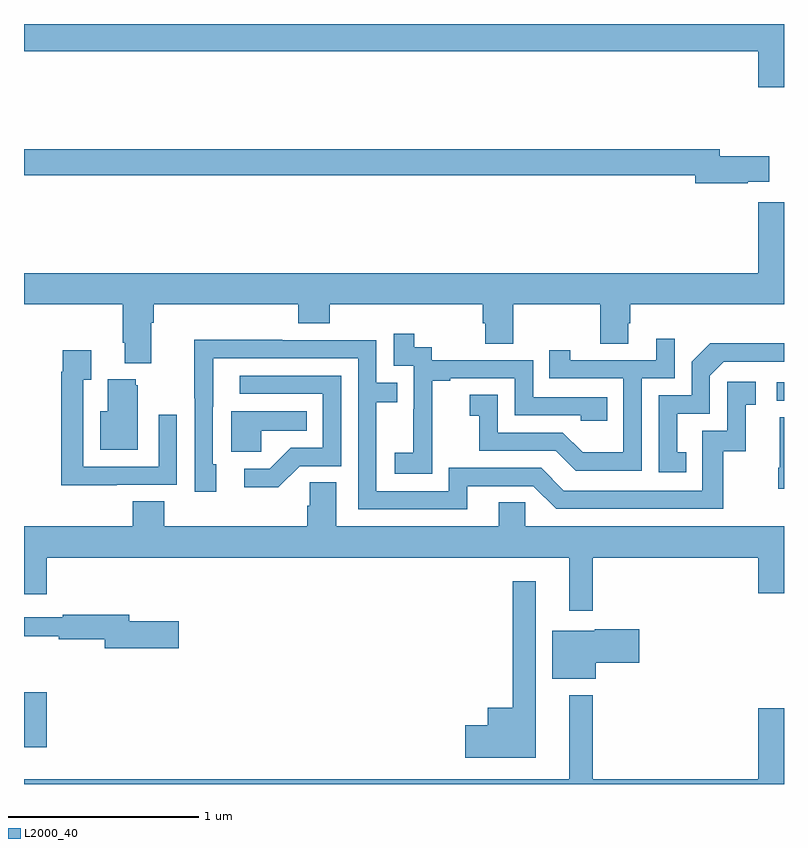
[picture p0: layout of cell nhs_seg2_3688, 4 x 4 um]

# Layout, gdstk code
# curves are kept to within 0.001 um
import gdstk
lib = gdstk.Library(unit=1e-6, precision=1e-09)
def R(c, l, rs):  # rectangles x0, y0, x1, y1
    for r in rs: c.add(gdstk.rectangle(r[:2], r[2:], *l))
def P(c, l, *ps):  # polygons
    for p in ps: c.add(gdstk.Polygon(p, *l))
L2000_40 = (2000, 40)

nhs_seg2_3688 = lib.new_cell('nhs_seg2_3688')
R(nhs_seg2_3688, L2000_40, [(305,623.994,305.12,624.283), (308.961,625.818,309,625.914)])
P(nhs_seg2_3688, L2000_40, [(309,627.8),(305,627.8),(305,627.656),(308.864,627.656),(308.864,627.468),(309,627.468)],
  [(308.81,626.969),(308.923,626.969),(308.923,627.104),(308.662,627.104),(308.662,627.14),(305,627.14),(305,627.004),(308.534,627.004),(308.534,626.962),(308.81,626.962)],
  [(305.671,626.228),(305.684,626.228),(305.684,626.324),(306.443,626.324),(306.443,626.225),(306.608,626.225),(306.608,626.324),(307.415,626.324),(307.415,626.226),(307.427,626.226),(307.427,626.116),(307.575,626.116),(307.575,626.324),(308.032,626.324),(308.032,626.116),(308.179,626.116),(308.179,626.226),(308.192,626.226),(308.192,626.324),(309,626.324),(309,626.863),(308.864,626.863),(308.864,626.488),(305,626.488),(305,626.324),(305.519,626.324),(305.519,626.122),(305.531,626.122),(305.531,626.015),(305.671,626.015)],
  [(307.149,625.639),(307.148,625.639),(307.148,625.923),(307.243,625.923),(307.243,625.935),(307.584,625.935),(307.584,625.74),(307.929,625.74),(307.929,625.713),(308.069,625.713),(308.069,625.836),(307.68,625.836),(307.68,626.031),(307.146,626.031),(307.146,626.1),(307.054,626.1),(307.054,626.17),(306.945,626.17),(306.945,626.001),(307.05,626.001),(307.05,625.772),(307.049,625.772),(307.049,625.543),(306.951,625.543),(306.951,625.433),(307.149,625.433)],
  [(308.25,625.935),(308.424,625.935),(308.424,626.143),(308.327,626.143),(308.327,626.031),(307.876,626.031),(307.876,626.083),(307.765,626.083),(307.765,625.935),(308.154,625.935),(308.154,625.546),(307.94,625.546),(307.836,625.65),(307.494,625.65),(307.494,625.849),(307.347,625.849),(307.347,625.739),(307.396,625.739),(307.396,625.554),(307.799,625.554),(307.904,625.449),(308.25,625.449)],
  [(307.333,625.368),(307.68,625.368),(307.8,625.248),(308.68,625.248),(308.68,625.551),(308.798,625.551),(308.798,625.797),(308.851,625.797),(308.851,625.918),(308.7,625.918),(308.7,625.659),(308.571,625.659),(308.571,625.344),(307.842,625.344),(307.722,625.464),(307.236,625.464),(307.236,625.341),(306.855,625.341),(306.855,625.81),(306.965,625.81),(306.965,625.911),(306.855,625.911),(306.855,626.136),(306.359,626.136),(306.359,626.138),(305.896,626.138),(305.896,625.831),(305.898,625.831),(305.898,625.338),(306.013,625.338),(306.013,625.482),(305.994,625.482),(305.995,626.04),(306.759,626.04),(306.759,625.245),(307.333,625.245)],
  [(308.486,625.545),(308.437,625.545),(308.437,625.749),(308.61,625.749),(308.61,625.95),(308.682,626.022),(309,626.022),(309,626.12),(308.612,626.12),(308.514,626.022),(308.514,625.845),(308.34,625.845),(308.34,625.44),(308.486,625.44)],
  [(305.489,625.374),(305.805,625.374),(305.805,625.744),(305.709,625.744),(305.709,625.47),(305.313,625.47),(305.313,625.927),(305.353,625.927),(305.353,626.083),(305.205,626.083),(305.205,625.97),(305.197,625.97),(305.197,625.373),(305.489,625.373)],
  [(306.45,625.473),(306.669,625.473),(306.669,625.95),(306.135,625.95),(306.135,625.854),(306.573,625.854),(306.573,625.569),(306.404,625.569),(306.293,625.458),(306.159,625.458),(306.159,625.361),(306.337,625.361)],
  [(305.599,625.899),(305.588,625.899),(305.588,625.93),(305.441,625.93),(305.441,625.762),(305.402,625.762),(305.402,625.559),(305.599,625.559)],
  [(306.249,625.658),(306.488,625.658),(306.488,625.762),(306.092,625.762),(306.092,625.55),(306.249,625.55)],
  [(309,625.729),(308.978,625.729),(308.978,625.465),(308.971,625.465),(308.971,625.353),(309,625.353)],
  [(307.993,624.992),(308.864,624.992),(308.864,624.804),(309,624.804),(309,625.156),(307.638,625.156),(307.638,625.283),(307.499,625.283),(307.499,625.156),(306.643,625.156),(306.643,625.388),(306.504,625.388),(306.504,625.265),(306.491,625.265),(306.491,625.156),(305.738,625.156),(305.738,625.289),(305.573,625.289),(305.573,625.156),(305,625.156),(305,624.798),(305.12,624.798),(305.12,624.992),(307.871,624.992),(307.871,624.711),(307.993,624.711)],
  [(307.693,624.868),(307.572,624.868),(307.572,624.202),(307.442,624.202),(307.442,624.11),(307.323,624.11),(307.323,623.939),(307.693,623.939)],
  [(305.815,624.657),(305.554,624.657),(305.554,624.691),(305.203,624.691),(305.203,624.678),(305,624.678),(305,624.577),(305.184,624.577),(305.184,624.562),(305.426,624.562),(305.426,624.515),(305.815,624.515)],
  [(308.008,624.437),(308.239,624.437),(308.239,624.615),(308.004,624.615),(308.004,624.607),(307.781,624.607),(307.781,624.353),(308.008,624.353)],
  [(309,624.199),(308.864,624.199),(308.864,623.824),(307.993,623.824),(307.993,624.268),(307.871,624.268),(307.871,623.824),(305,623.824),(305,623.8),(309,623.8)])

lib.write_gds('nhs_seg2_3688.gds')
